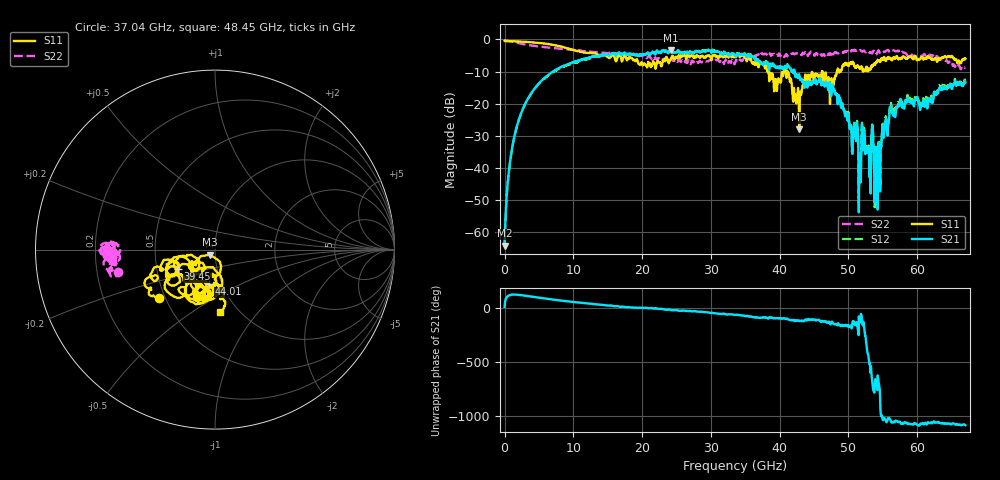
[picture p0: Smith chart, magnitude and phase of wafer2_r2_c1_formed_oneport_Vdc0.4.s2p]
!Keysight Technologies,N5227A,US51270248,A.10.65.08
!Date: Tuesday, June 11, 2024 07:57:19
!Correction: S11(Full 2 Port(1,4))
!S41(Full 2 Port(1,4))
!S14(Full 2 Port(1,4))
!S44(Full 2 Port(1,4))
!S2P File: Measurements: S11, S41, S14, S44:
# Hz S  dB  R 50
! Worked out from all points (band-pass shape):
!   3201 points, 10 MHz to 67 GHz, reference 50 ohm
!   highest |S21| = -3.27 dB at 24.19 GHz (marker M1); lowest = -64.2 dB at 10 MHz (marker M2)
!   |S21| within 3 dB of the highest: 11.26 GHz to 36.57 GHz (25.31 GHz wide, 106 % of centre); 36.74456 GHz to 36.86134 GHz (116.8 MHz wide, 0.317 % of centre)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
!   lowest |S11| = -28.0 dB at 42.84 GHz (marker M3), VSWR 1.08, Z = 47.1 - j2.63 ohm
!   |S11| at or under -10 dB: 38.37 GHz to 40.59 GHz (2.221 GHz wide, 5.63 % of centre); 41.18 GHz to 46.16 GHz (4.979 GHz wide, 11.4 % of centre); 46.23 GHz to 48.32 GHz (2.088 GHz wide, 4.42 % of centre)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
!   |S22| runs from -9.3 to -0.3 dB; largest |S21 - S12| = 0.053
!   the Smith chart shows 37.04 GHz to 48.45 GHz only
!   S11 on the Smith chart (normalised r, x): 37.04 GHz: 0.46, -0.30; 39.45 GHz: 0.64, -0.15; 44.01 GHz: 0.87, -0.35; 48.45 GHz: 0.82, -0.65
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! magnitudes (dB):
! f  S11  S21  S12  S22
! 10 MHz  -0.4  -64.2  -64.4  -0.3
! 1.036 GHz  -0.6  -34.7  -34.8  -0.7
! 2.836 GHz  -0.7  -20.8  -20.9  -1.5
! 6.081 GHz  -1.3  -11.5  -11.7  -2.5
! 11.19 GHz  -3.9  -6.3  -6.6  -3.6
! 22.35 GHz  -7.0  -3.9  -3.9  -6.0
! 24.19 GHz  -5.9  -3.3  -3.3  -6.4
! 33.51 GHz  -5.5  -5.1  -5.0  -7.3
! 37.04 GHz  -7.7  -6.8  -6.9  -5.2
! 39.45 GHz  -12.6  -8.7  -8.7  -4.8
! 40.96 GHz  -11.0  -8.9  -8.9  -4.6
! 42.84 GHz  -28.0  -11.2  -11.1  -4.5
! 44.01 GHz  -14.1  -14.9  -14.4  -4.5
! 44.68 GHz  -10.2  -13.7  -13.4  -4.4
! 47.55 GHz  -12.6  -16.8  -16.4  -4.7
! 48.45 GHz  -9.1  -20.2  -20.1  -4.4
! 51.09 GHz  -8.6  -31.3  -30.6  -3.4
! 51.55 GHz  -8.7  -38.6  -38.5  -3.6
! 52.2 GHz  -9.4  -29.0  -28.5  -3.5
! 53.98 GHz  -7.1  -33.4  -33.7  -4.6
! 55.84 GHz  -5.6  -25.8  -25.2  -3.4
! 67 GHz  -6.0  -13.4  -12.9  -8.7
